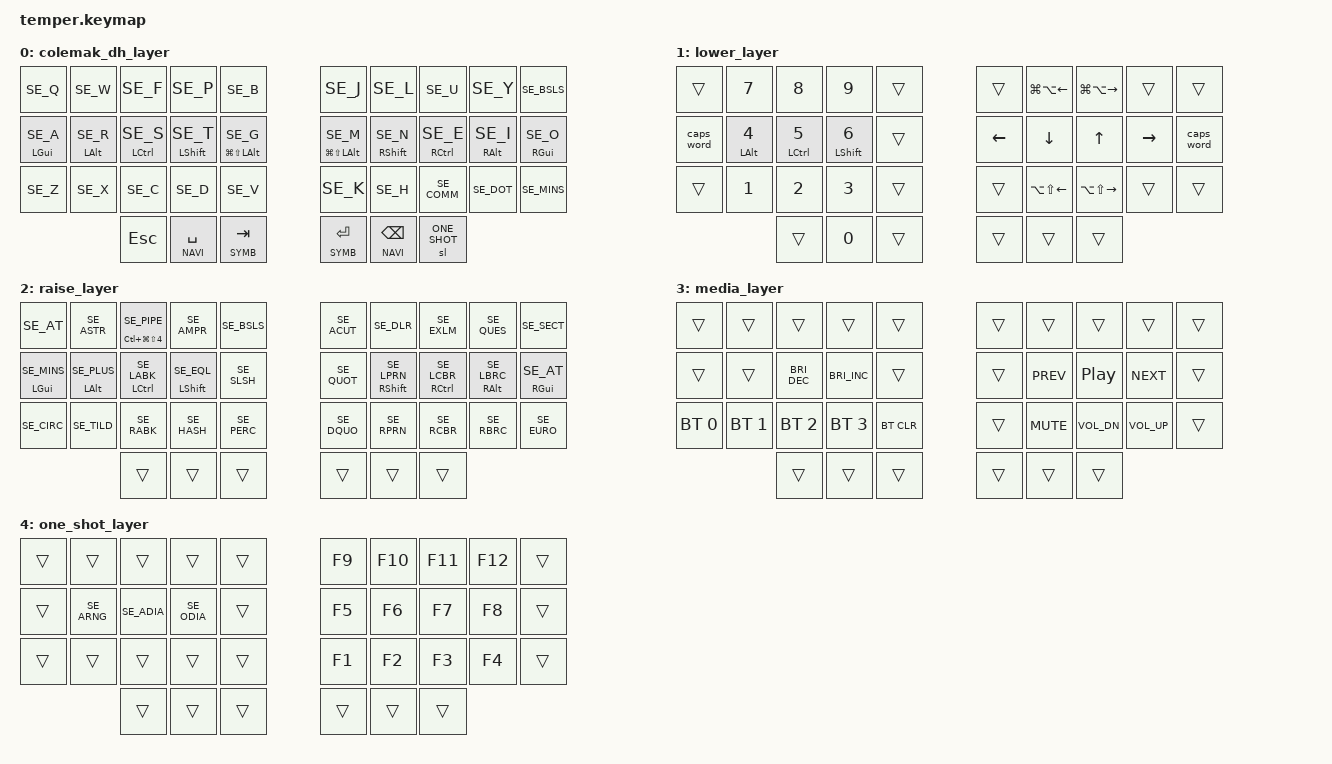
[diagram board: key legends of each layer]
/*
 * Copyright (c) 2020 The ZMK Contributors
 *
 * SPDX-License-Identifier: MIT
 */

#include <behaviors.dtsi>
#include <dt-bindings/zmk/keys.h>
#include <dt-bindings/zmk/bt.h>
#include "keys_se.h"

#define COLEMAK   0
#define NAVI      1
#define SYMB      2
#define MEDIA     3
#define ONE_SHOT  4

&mt {
    flavor = "tap-preferred";
    tapping_term_ms = <200>;
};

/ {
  combos {
    compatible = "zmk,combos";
    combo_layer_three {
      timeout-ms = <50>;
      key-positions = <31 34>;
      bindings = <&mo MEDIA>;
    };
  };
  behaviors {
    hm: homerow_mods {
      compatible = "zmk,behavior-hold-tap";
      label = "HOMEROW_MODS";
      #binding-cells = <2>;
      tapping-term-ms = <200>;
      quick_tap_ms = <200>;
      flavor = "tap-preferred";
      bindings = <&kp>, <&kp>;
    };
    td: tapdance {
      compatible = "zmk,behavior-hold-tap";
      label = "TAPDANCE";
      #binding-cells = <2>;
      tapping-term-ms = <150>;
      quick_tap_ms = <0>;
      flavor = "tap-preferred";
      bindings = <&kp>, <&kp>;
    };
    los: layer_one_shot {
      compatible = "zmk,behavior-hold-tap";
      label = "LAYER_ONE_SHOT";
      #binding-cells = <2>;
      tapping-term-ms = <200>;
      quick_tap_ms = <0>;
      flavor = "tap-preferred";
      bindings = <&mo>, <&sl>;
    };
    lt: layer_tap {
      compatible = "zmk,behavior-hold-tap";
      label = "LAYER_TAP";
      #binding-cells = <2>;
      tapping-term-ms = <200>;
      quick_tap_ms = <200>;
      flavor = "tap-preferred";
      bindings = <&mo>, <&kp>;
    };
  };
  keymap {
    compatible = "zmk,keymap";

    colemak_dh_layer {
      bindings = <
// ╭─────────────┬─────────────┬─────────────┬─────────────┬─────────────╮   ╭─────────────┬─────────────┬─────────────┬─────────────┬─────────────╮
      &kp SE_Q      &kp SE_W      &kp SE_F      &kp SE_P      &kp SE_B          &kp SE_J      &kp SE_L      &kp SE_U      &kp SE_Y     &kp SE_BSLS   
// ├─────────────┼─────────────┼─────────────┼─────────────┼─────────────┤   ├─────────────┼─────────────┼─────────────┼─────────────┼─────────────┤
    &hm LGUI SE_A &hm LALT SE_R &hm LCTRL SE_S &hm LSHIFT SE_T &hm LG(LS(LALT))  SE_G         &hm LG(LS(LALT)) SE_M    &hm RSHIFT SE_N &hm RCTRL SE_E &hm RALT SE_I &hm RGUI SE_O
// ├─────────────┼─────────────┼─────────────┼─────────────┼─────────────┤   ├─────────────┼─────────────┼─────────────┼─────────────┼─────────────┤
      &kp SE_Z      &kp SE_X      &kp SE_C      &kp SE_D      &kp SE_V          &kp SE_K      &kp SE_H     &kp SE_COMM    &kp SE_DOT   &kp SE_MINS
// ╰─────────────┴─────────────┼─────────────┼─────────────┼─────────────┤   ├─────────────┼─────────────┼─────────────┼─────────────┴─────────────╯
                                &kp ESC       &lt NAVI SPACE &lt SYMB TAB     &lt SYMB RET  &lt NAVI BSPC  &sl ONE_SHOT
//                             ╰─────────────┴─────────────┴─────────────╯   ╰─────────────┴─────────────┴─────────────╯
      >;
    };

    lower_layer {
      bindings = <
// ╭─────────────┬─────────────┬─────────────┬─────────────┬─────────────╮   ╭─────────────┬─────────────┬─────────────┬─────────────┬─────────────╮
        &trans      &kp N7        &kp N8        &kp N9        &trans            &trans    &kp LG(LA(LEFT)) &kp LG(LA(RIGHT)) &trans     &trans   
// ├─────────────┼─────────────┼─────────────┼─────────────┼─────────────┤   ├─────────────┼─────────────┼─────────────┼─────────────┼─────────────┤
     &caps_word   &hm LALT N4   &hm LCTRL N5   &hm LSHIFT N6   &trans           &kp LEFT      &kp DOWN       &kp UP       &kp RIGHT    &caps_word 
// ├─────────────┼─────────────┼─────────────┼─────────────┼─────────────┤   ├─────────────┼─────────────┼─────────────┼─────────────┼─────────────┤
        &trans       &kp N1       &kp N2         &kp N3        &trans           &trans     &kp LA(LS(LEFT)) &kp LA(LS(RIGHT)) &trans     &trans
// ╰─────────────┴─────────────┼─────────────┼─────────────┼─────────────┤   ├─────────────┼─────────────┼─────────────┼─────────────┴─────────────╯
                                   &trans        &kp N0        &trans            &trans        &trans        &trans
//                             ╰─────────────┴─────────────┴─────────────╯   ╰─────────────┴─────────────┴─────────────╯
      >;
    };

    raise_layer {
      bindings = <
// ╭─────────────┬─────────────┬─────────────┬─────────────┬─────────────╮   ╭─────────────┬─────────────┬─────────────┬─────────────┬─────────────╮
    &kp SE_AT   &kp SE_ASTR  &td LC(LG(LS(N4))) SE_PIPE &kp SE_AMPR &kp SE_BSLS &kp SE_ACUT   &kp SE_DLR    &kp SE_EXLM  &kp SE_QUES   &kp SE_SECT
// ├─────────────┼─────────────┼─────────────┼─────────────┼─────────────┤   ├─────────────┼─────────────┼─────────────┼─────────────┼─────────────┤
    &hm LGUI SE_MINS &hm LALT SE_PLUS &hm LCTRL SE_LABK &hm LSHIFT SE_EQL &kp SE_SLSH &kp SE_QUOT &hm RSHIFT SE_LPRN &hm RCTRL SE_LCBR &hm RALT SE_LBRC &hm RGUI SE_AT
// ├─────────────┼─────────────┼─────────────┼─────────────┼─────────────┤   ├─────────────┼─────────────┼─────────────┼─────────────┼─────────────┤
     &kp SE_CIRC   &kp SE_TILD   &kp SE_RABK   &kp SE_HASH   &kp SE_PERC       &kp SE_DQUO   &kp SE_RPRN   &kp SE_RCBR   &kp SE_RBRC   &kp SE_EURO
// ╰─────────────┴─────────────┼─────────────┼─────────────┼─────────────┤   ├─────────────┼─────────────┼─────────────┼─────────────┴─────────────╯
                                   &trans        &trans        &trans            &trans        &trans        &trans
//                             ╰─────────────┴─────────────┴─────────────╯   ╰─────────────┴─────────────┴─────────────╯
      >;
    };

    media_layer {
      bindings = <
// ╭─────────────┬─────────────┬─────────────┬─────────────┬─────────────╮   ╭─────────────┬─────────────┬─────────────┬─────────────┬─────────────╮
       &trans         &trans       &trans        &trans        &trans            &trans         &trans       &trans        &trans        &trans
// ├─────────────┼─────────────┼─────────────┼─────────────┼─────────────┤   ├─────────────┼─────────────┼─────────────┼─────────────┼─────────────┤
       &trans         &trans    &kp C_BRI_DEC &kp C_BRI_INC    &trans            &trans       &kp C_PREV    &kp C_PP      &kp C_NEXT     &trans
// ├─────────────┼─────────────┼─────────────┼─────────────┼─────────────┤   ├─────────────┼─────────────┼─────────────┼─────────────┼─────────────┤
    &bt BT_SEL 0  &bt BT_SEL 1  &bt BT_SEL 2  &bt BT_SEL 3   &bt BT_CLR          &trans       &kp C_MUTE    &kp C_VOL_DN  &kp C_VOL_UP    &trans
// ╰─────────────┴─────────────┼─────────────┼─────────────┼─────────────┤   ├─────────────┼─────────────┼─────────────┼─────────────┴─────────────╯
                                   &trans        &trans        &trans            &trans        &trans        &trans
//                             ╰─────────────┴─────────────┴─────────────╯   ╰─────────────┴─────────────┴─────────────╯
      >;
    };

    one_shot_layer {
      bindings = <
// ╭─────────────┬─────────────┬─────────────┬─────────────┬─────────────╮   ╭─────────────┬─────────────┬─────────────┬─────────────┬─────────────╮
        &trans        &trans         &trans       &trans        &trans           &kp F9        &kp F10      &kp F11       &kp F12        &trans
// ├─────────────┼─────────────┼─────────────┼─────────────┼─────────────┤   ├─────────────┼─────────────┼─────────────┼─────────────┼─────────────┤
        &trans    &kp SE_ARNG    &kp SE_ADIA   &kp SE_ODIA      &trans           &kp F5        &kp F6       &kp F7         &kp F8        &trans
// ├─────────────┼─────────────┼─────────────┼─────────────┼─────────────┤   ├─────────────┼─────────────┼─────────────┼─────────────┼─────────────┤
        &trans        &trans        &trans        &trans        &trans           &kp F1        &kp F2       &kp F3         &kp F4        &trans
// ╰─────────────┴─────────────┼─────────────┼─────────────┼─────────────┤   ├─────────────┼─────────────┼─────────────┼─────────────┴─────────────╯
                                   &trans        &trans        &trans            &trans        &trans        &trans
//                             ╰─────────────┴─────────────┴─────────────╯   ╰─────────────┴─────────────┴─────────────╯
      >;
    };

  };
};
